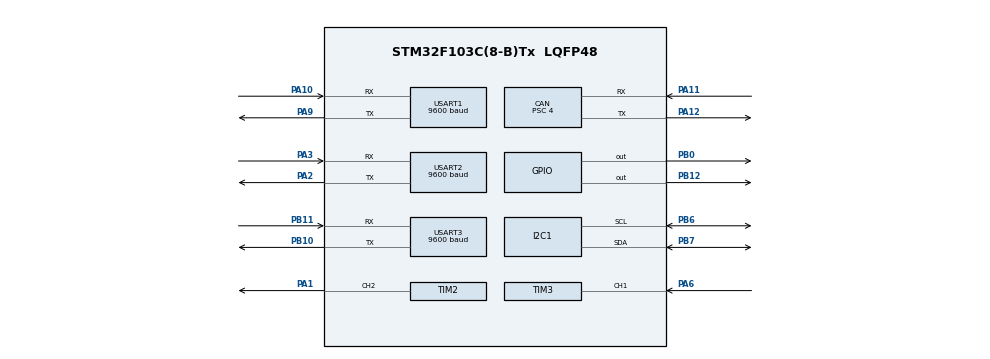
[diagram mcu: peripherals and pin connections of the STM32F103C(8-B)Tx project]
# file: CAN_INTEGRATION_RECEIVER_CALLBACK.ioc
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CAN.BS1=CAN_BS1_3TQ
CAN.BS2=CAN_BS2_4TQ
CAN.CalculateBaudRate=250000
CAN.CalculateTimeBit=4000
CAN.CalculateTimeQuantum=500.0
CAN.Prescaler=4
Dma.Request0=TIM2_UP
Dma.TIM2_UP.0.Direction=DMA_MEMORY_TO_PERIPH
Dma.TIM2_UP.0.Instance=DMA1_Channel2
Dma.TIM2_UP.0.MemDataAlignment=DMA_MDATAALIGN_HALFWORD
Dma.TIM2_UP.0.MemInc=DMA_MINC_ENABLE
Dma.TIM2_UP.0.Mode=DMA_NORMAL
Dma.TIM2_UP.0.PeriphDataAlignment=DMA_PDATAALIGN_HALFWORD
Dma.TIM2_UP.0.PeriphInc=DMA_PINC_DISABLE
Dma.TIM2_UP.0.Priority=DMA_PRIORITY_LOW
I2C1.I2C_Mode=I2C_Fast
Mcu.Family=STM32F1
Mcu.Name=STM32F103C(8-B)Tx
Mcu.Package=LQFP48
NVIC.CAN1_RX1_IRQn=true\:0\:0\:false\:false\:true\:true\:true\:true
NVIC.CAN1_SCE_IRQn=true\:0\:0\:false\:false\:true\:true\:true\:true
NVIC.DMA1_Channel2_IRQn=true\:0\:0\:false\:false\:true\:false\:true\:true
NVIC.I2C1_ER_IRQn=true\:0\:0\:false\:false\:true\:true\:true\:true
NVIC.I2C1_EV_IRQn=true\:0\:0\:false\:false\:true\:true\:true\:true
NVIC.PriorityGroup=NVIC_PRIORITYGROUP_4
NVIC.TIM2_IRQn=true\:0\:0\:false\:false\:true\:true\:true\:true
NVIC.TIM3_IRQn=true\:0\:0\:false\:false\:true\:true\:true\:true
NVIC.USART1_IRQn=true\:0\:0\:false\:false\:true\:true\:true\:true
NVIC.USART2_IRQn=true\:0\:0\:false\:false\:true\:true\:true\:true
NVIC.USART3_IRQn=true\:0\:0\:false\:false\:true\:true\:true\:true
NVIC.USB_HP_CAN1_TX_IRQn=true\:0\:0\:false\:false\:true\:true\:true\:true
NVIC.USB_LP_CAN1_RX0_IRQn=true\:0\:0\:false\:false\:true\:true\:true\:true
PA1.Signal=S_TIM2_CH2
PA10.Mode=Asynchronous
PA10.Signal=USART1_RX
PA11.Mode=CAN_Activate
PA11.Signal=CAN_RX
PA12.Mode=CAN_Activate
PA12.Signal=CAN_TX
PA2.Mode=Asynchronous
PA2.Signal=USART2_TX
PA3.Mode=Asynchronous
PA3.Signal=USART2_RX
PA6.Signal=S_TIM3_CH1
PA9.Mode=Asynchronous
PA9.Signal=USART1_TX
PB0.Signal=GPIO_Output
PB10.Mode=Asynchronous
PB10.Signal=USART3_TX
PB11.Mode=Asynchronous
PB11.Signal=USART3_RX
PB12.Signal=GPIO_Output
PB6.Mode=I2C
PB6.Signal=I2C1_SCL
PB7.Mode=I2C
PB7.Signal=I2C1_SDA
PD0-OSC_IN.Mode=HSE-External-Oscillator
PD0-OSC_IN.Signal=RCC_OSC_IN
PD1-OSC_OUT.Mode=HSE-External-Oscillator
PD1-OSC_OUT.Signal=RCC_OSC_OUT
ProjectManager.HeapSize=0x200
ProjectManager.StackSize=0x400
ProjectManager.TargetToolchain=STM32CubeIDE
RCC.APB1Freq_Value=8000000
RCC.APB2Freq_Value=8000000
SH.S_TIM2_CH2.0=TIM2_CH2,PWM Generation2 CH2
SH.S_TIM3_CH1.0=TIM3_CH1,Input_Capture1_from_TI1
TIM2.Channel-PWM\ Generation2\ CH2=TIM_CHANNEL_2
TIM2.CounterMode=TIM_COUNTERMODE_UP
TIM2.Period=9999
TIM2.Prescaler=79
TIM3.Channel-Input_Capture1_from_TI1=TIM_CHANNEL_1
TIM3.Prescaler=79
USART1.BaudRate=9600
USART1.VirtualMode=VM_ASYNC
USART2.BaudRate=9600
USART2.VirtualMode=VM_ASYNC
USART3.BaudRate=9600
USART3.VirtualMode=VM_ASYNC
VP_SYS_VS_ND.Mode=No_Debug
board=custom

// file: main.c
/* USER CODE BEGIN Header */
/**
  ******************************************************************************
  * @file    main.c
  * @brief   Unified TX/RX firmware
  *          PB12=HIGH  → TRANSMITTER  (boot-time + 200ms polling)
  *          PB12=LOW   → RECEIVER     (boot-time + 200ms polling)
  *
  *          CAN role override (PCAN-View remote frame or data frame):
  *          ID 0x100 → force TRANSMITTER (until reset)
  *          ID 0x200 → force RECEIVER    (until reset)
  *          Both PB12 and CAN override coexist — CAN wins once received.
  ******************************************************************************
  */
//Timers:
//  TIM2 → CH2 PWM output  → PA1
//  TIM3 → CH1 Input Capture → PA6
//         Base interrupt ON
//         IC interrupt ON
//
//UART:
//  USART1 → 9600 baud → PA9(TX) PA10(RX)
//  USART2 → 9600 baud → PA2(TX) PA3(RX)
//
//GPIO outputs:
//  PB0  → E32 M0+M1 shorted (LOW=Normal, HIGH=Configure)
//  PB12 → Input pull-down → HIGH=TX / LOW=RX
//  PC13 → Output → LED
//
//I2C1:
//  PB6 SCL, PB7 SDA
//  Speed = 100kHz
//
//CAN (debug + role control — PCAN-View):
//  PA11 → CAN_RX
//  PA12 → CAN_TX
//  250 kbps
//
//  CAN IDs used:
//   0x100  →  Set role = TRANSMITTER  (send any frame with this ID from PCAN-View)
//   0x200  →  Set role = RECEIVER     (send any frame with this ID from PCAN-View)
//   0x101  →  TX/RX debug data output [FREQ(4B big-endian)][RPM(4B big-endian)]
/* USER CODE END Header */

#include "main.h"
#include "can.h"
#include "dma.h"
#include "i2c.h"
#include "tim.h"
#include "usart.h"
#include "gpio.h"

/* USER CODE BEGIN Includes */
#include "ssd1306.h"
#include "fonts.h"
#include <stdio.h>
#include <string.h>
/* USER CODE END Includes */

/* USER CODE BEGIN PTD */
typedef enum
{
    ROLE_IDLE        = 0,
    ROLE_TRANSMITTER = 1,
    ROLE_RECEIVER    = 2
} DeviceRole;
/* USER CODE END PTD */

/* USER CODE BEGIN PD */
/* ── Signal loss timeout ── */
#define SIGNAL_TIMEOUT_MS   2000   /* show "NO SIGNAL" after 2s of no capture */
/* ── Role pin ── */
#define TX_SELECT_PORT      GPIOB
#define TX_SELECT_PIN       GPIO_PIN_12

/* ── E32 mode pin ── */
#define E32_M0_PORT         GPIOB
#define E32_M0_PIN          GPIO_PIN_0

/* ── E32 operating mode ── */
#define NORMAL              0
#define CONFIGURE           1
#define E32_MODE            NORMAL

#if E32_MODE == CONFIGURE
    #define E32_ApplyMode() HAL_GPIO_WritePin(E32_M0_PORT, E32_M0_PIN, GPIO_PIN_SET)
#else
    #define E32_ApplyMode() HAL_GPIO_WritePin(E32_M0_PORT, E32_M0_PIN, GPIO_PIN_RESET)
#endif

/* ── UART aliases ── */
#define FTDI_UART           huart1    /* USART1 PA9/PA10 → FTDI/PC  */
#define E32_UART            huart2    /* USART2 PA2/PA3  → E32 LoRa */

/* ── OLED addresses ── */
#define OLED_ADDR_PRIMARY   0x78
#define OLED_ADDR_FALLBACK  0x7A

/* ── RX buffer ── */
#define RX_BUF_SIZE         80

/* ── Timer clock: HSI 8MHz, PSC=79 → 100kHz ── */
#define TIMER_CLK           100000.0f
#define PPR                 1

/* ── Averaging ── */
#define AVG_LOW             4
#define AVG_MID             16
#define AVG_HIGH            64
#define AVG_MAX             64
#define MA_WINDOW           10

/* ── TX timing ── */
#define TX_INTERVAL_MS      500
#define E32_TX_DELAY_MS     200

/* ── CAN IDs ── */
#define CAN_DEBUG_ID        0x101   /* outbound data frames (FREQ + RPM)  */
#define CAN_CMD_TX_ID       0x100   /* inbound: set role = TRANSMITTER    */
#define CAN_CMD_RX_ID       0x200   /* inbound: set role = RECEIVER       */
/* USER CODE END PD */

/* USER CODE BEGIN PV */
/* ── Role ── */
static DeviceRole g_role = ROLE_IDLE;

/* ── CAN role override ──────────────────────────────────────────────────────
 * Set to 1 by the CAN RX ISR when a 0x100 or 0x200 frame arrives.
 * Once set, the 200ms PB12 polling loop will NO LONGER trigger a reset
 * based on the pin — the CAN command is "sticky" until the board resets.
 * Both mechanisms stay active; CAN simply wins while this flag is set.
 * ────────────────────────────────────────────────────────────────────────── */
static volatile uint8_t    g_can_override_active = 0;
static volatile DeviceRole g_can_requested_role  = ROLE_IDLE;

/* ── OLED presence flag ── */
static uint8_t oled_present = 0;

/* ── TX variables ── */
static volatile uint32_t overflow_count = 0;
static uint32_t cap_buf[AVG_MAX + 1];
static uint8_t  cap_idx    = 0;
static uint8_t  cur_avg    = AVG_MID;
static uint8_t  meas_ready = 0;
volatile float  g_Frequency = 0.0f;

/* ── Moving average ── */
static float   ma_buf[MA_WINDOW] = {0};
static uint8_t ma_idx   = 0;
static uint8_t ma_count = 0;

/* ── RX variables ── */
static char    rx_buf[RX_BUF_SIZE];
static uint8_t rx_idx = 0;
/* USER CODE END PV */

void SystemClock_Config(void);
/* USER CODE BEGIN PFP */
static float   moving_average(float v);
static void    E32_SetMode(void);
static void    E32_Transmit(uint32_t freq, uint32_t rpm);
static void    TX_OLED_Display(uint32_t freq, uint32_t rpm);
static uint8_t OLED_Verify(void);
static void    Parse_And_Display(char *line);
static void    TX_Init(void);
static void    TX_Loop(void);
static void    RX_Init(void);
static void    RX_Loop(void);
static void    IDLE_Loop(void);
static void    CAN_Config(void);
static void    CAN_SendData(uint32_t freq, uint32_t rpm);
/* USER CODE END PFP */

/* USER CODE BEGIN 0 */

/* ══════════════════════════════════════════════
 * MOVING AVERAGE
 * ══════════════════════════════════════════════ */
static float moving_average(float new_freq)
{
    if (ma_count > 0)
    {
        float last = ma_buf[(ma_idx == 0) ?
                    (MA_WINDOW - 1) : (ma_idx - 1)];
        if (last > 0.0f)
        {
            float ratio = new_freq / last;
            if (ratio < 0.5f || ratio > 2.0f)
            {
                ma_count = 0;
                ma_idx   = 0;
                for (uint8_t i = 0; i < MA_WINDOW; i++)
                    ma_buf[i] = 0.0f;
            }
        }
    }
    ma_buf[ma_idx] = new_freq;
    ma_idx = (ma_idx + 1) % MA_WINDOW;
    if (ma_count < MA_WINDOW) ma_count++;

    float sum = 0.0f;
    for (uint8_t i = 0; i < ma_count; i++)
        sum += ma_buf[i];
    return sum / (float)ma_count;
}

/* ══════════════════════════════════════════════
 * E32 MODE
 * ══════════════════════════════════════════════ */
static void E32_SetMode(void)
{
    E32_ApplyMode();
    HAL_Delay(100);
}

/* ══════════════════════════════════════════════
 * E32 TRANSMIT
 * ══════════════════════════════════════════════ */
static void E32_Transmit(uint32_t freq, uint32_t rpm)
{
    char buf[64];
    int  len = snprintf(buf, sizeof(buf),
                        "FREQ:%lu RPM:%lu\r\n",
                        freq, rpm);

    HAL_UART_Transmit(&E32_UART,
                      (uint8_t *)buf, (uint16_t)len, 200);
    HAL_Delay(E32_TX_DELAY_MS);

    HAL_UART_Transmit(&FTDI_UART,
                      (uint8_t *)buf, (uint16_t)len, 200);
}

/* ══════════════════════════════════════════════
 * CAN CONFIG
 * Filter bank 0  — accept ALL IDs (mask = 0x000 / 0x000)
 * This lets us receive 0x100 and 0x200 role commands as well as
 * any other frames without needing multiple filter banks.
 * ══════════════════════════════════════════════ */
static void CAN_Config(void)
{
    /* Skip filter + start if CAN already running */
    if (HAL_CAN_GetState(&hcan) != HAL_CAN_STATE_LISTENING)
    {
        CAN_FilterTypeDef filterConfig;
        filterConfig.FilterBank           = 0;
        filterConfig.FilterMode           = CAN_FILTERMODE_IDMASK;
        filterConfig.FilterScale          = CAN_FILTERSCALE_32BIT;
        filterConfig.FilterIdHigh         = 0x0000;
        filterConfig.FilterIdLow          = 0x0000;
        filterConfig.FilterMaskIdHigh     = 0x0000;
        filterConfig.FilterMaskIdLow      = 0x0000;
        filterConfig.FilterFIFOAssignment = CAN_RX_FIFO0;
        filterConfig.FilterActivation     = ENABLE;
        filterConfig.SlaveStartFilterBank = 14;

        if (HAL_CAN_ConfigFilter(&hcan, &filterConfig) != HAL_OK)
            Error_Handler();

        if (HAL_CAN_Start(&hcan) != HAL_OK)
            Error_Handler();
    }

    /* ALWAYS re-enable notification — gets cleared after role switch */
    if (HAL_CAN_ActivateNotification(&hcan,
            CAN_IT_RX_FIFO0_MSG_PENDING) != HAL_OK)
        Error_Handler();
}
/* ══════════════════════════════════════════════
 * CAN TX — debug data output
 * ID 0x101, 8-byte big-endian [FREQ(4B)][RPM(4B)]
 * ══════════════════════════════════════════════ */
static void CAN_SendData(uint32_t freq, uint32_t rpm)
{
    CAN_TxHeaderTypeDef txHeader;
    uint8_t  txData[8];
    uint32_t txMailbox;

    txHeader.StdId              = CAN_DEBUG_ID;
    txHeader.ExtId              = 0;
    txHeader.IDE                = CAN_ID_STD;
    txHeader.RTR                = CAN_RTR_DATA;
    txHeader.DLC                = 8;
    txHeader.TransmitGlobalTime = DISABLE;

    txData[0] = (uint8_t)(freq >> 24);
    txData[1] = (uint8_t)(freq >> 16);
    txData[2] = (uint8_t)(freq >>  8);
    txData[3] = (uint8_t)(freq);
    txData[4] = (uint8_t)(rpm  >> 24);
    txData[5] = (uint8_t)(rpm  >> 16);
    txData[6] = (uint8_t)(rpm  >>  8);
    txData[7] = (uint8_t)(rpm);

    if (HAL_CAN_GetTxMailboxesFreeLevel(&hcan) > 0)
        HAL_CAN_AddTxMessage(&hcan, &txHeader, txData, &txMailbox);
}

/* ══════════════════════════════════════════════
 * CAN RX FIFO0 INTERRUPT CALLBACK
 *
 * Called by HAL when a CAN frame arrives in FIFO0.
 *
 * ID 0x100 → request switch to TRANSMITTER
 * ID 0x200 → request switch to RECEIVER
 *
 * We set g_can_override_active and g_can_requested_role, then
 * let the main loop apply the switch via NVIC_SystemReset().
 * Doing the reset here (inside ISR) is safe but we avoid it to
 * keep the ISR short and not lose the FTDI "switching…" message.
 * ══════════════════════════════════════════════ */
void HAL_CAN_RxFifo0MsgPendingCallback(CAN_HandleTypeDef *hcan_ptr)
{
    CAN_RxHeaderTypeDef rxHeader;
    uint8_t rxData[8];

    if (HAL_CAN_GetRxMessage(hcan_ptr, CAN_RX_FIFO0,
                             &rxHeader, rxData) != HAL_OK)
        return;

    /* Only act on standard (11-bit) IDs */
    if (rxHeader.IDE != CAN_ID_STD)
        return;

    if (rxHeader.StdId == CAN_CMD_TX_ID)          /* 0x100 → TX */
    {
        g_can_requested_role  = ROLE_TRANSMITTER;
        g_can_override_active = 1;
    }
    else if (rxHeader.StdId == CAN_CMD_RX_ID)     /* 0x200 → RX */
    {
        g_can_requested_role  = ROLE_RECEIVER;
        g_can_override_active = 1;
    }
    /* All other IDs (e.g. 0x101 echoes) are silently ignored */
}

/* ══════════════════════════════════════════════
 * TIMER CALLBACKS — guarded by g_role
 * ══════════════════════════════════════════════ */
void HAL_TIM_PeriodElapsedCallback(TIM_HandleTypeDef *htim)
{
    if (g_role == ROLE_TRANSMITTER && htim->Instance == TIM3)
        overflow_count++;
}

void HAL_TIM_IC_CaptureCallback(TIM_HandleTypeDef *htim)
{
    if (g_role != ROLE_TRANSMITTER)                 return;
    if (htim->Instance != TIM3)                     return;
    if (htim->Channel  != HAL_TIM_ACTIVE_CHANNEL_1) return;

    HAL_GPIO_TogglePin(GPIOC, GPIO_PIN_13);

    uint16_t captured = (uint16_t)HAL_TIM_ReadCapturedValue(
                                   htim, TIM_CHANNEL_1);
    uint32_t ovf = overflow_count;

    if ((TIM3->SR & TIM_SR_UIF) && (captured < 0x8000))
        ovf--;

    uint32_t timestamp = (ovf * 65536UL) + (uint32_t)captured;
    cap_buf[cap_idx]   = timestamp;
    cap_idx++;

    if (cap_idx <= cur_avg) return;

    uint32_t total_ticks = cap_buf[cur_avg] - cap_buf[0];
    if (total_ticks > 0)
    {
        float avg_period = (float)total_ticks / (float)cur_avg;
        float new_freq   = TIMER_CLK / avg_period;

        if      (new_freq <  100.0f) cur_avg = AVG_LOW;
        else if (new_freq < 1000.0f) cur_avg = AVG_MID;
        else                         cur_avg = AVG_HIGH;

        g_Frequency = new_freq;
        meas_ready  = 1;
    }
    cap_idx = 0;
}

/* ══════════════════════════════════════════════
 * OLED HELPERS
 * ══════════════════════════════════════════════ */
static uint8_t OLED_Verify(void)
{
    if (HAL_I2C_IsDeviceReady(&hi2c1,
        OLED_ADDR_PRIMARY,  3, 100) == HAL_OK) return 1;
    if (HAL_I2C_IsDeviceReady(&hi2c1,
        OLED_ADDR_FALLBACK, 3, 100) == HAL_OK) return 1;
    return 0;
}

/* ══════════════════════════════════════════════
 * TX OLED DISPLAY
 * Row 0  : "Transmitter"
 * Row 16 : "FREQ:xxx Hz"
 * Row 35 : "RPM :xxx"
 * ══════════════════════════════════════════════ */
static void TX_OLED_Display(uint32_t freq, uint32_t rpm)
{
    if (!oled_present) return;

    char buf[22];
    SSD1306_Fill(SSD1306_COLOR_BLACK);

    SSD1306_GotoXY(0, 0);
    SSD1306_Puts("Transmitter", &Font_7x10, SSD1306_COLOR_WHITE);

    snprintf(buf, sizeof(buf), "FREQ:%lu Hz", freq);
    SSD1306_GotoXY(0, 16);
    SSD1306_Puts(buf, &Font_7x10, SSD1306_COLOR_WHITE);

    snprintf(buf, sizeof(buf), "RPM :%lu", rpm);
    SSD1306_GotoXY(0, 35);
    SSD1306_Puts(buf, &Font_7x10, SSD1306_COLOR_WHITE);

    SSD1306_UpdateScreen();
}

/* ══════════════════════════════════════════════
 * PARSE AND DISPLAY (RX side)
 * ══════════════════════════════════════════════ */
static void Parse_And_Display(char *line)
{
    int freq     = 0;
    int rval     = 0;
    int gen_freq = 0;

    char *p = strstr(line, "FREQ:");
    if (p) sscanf(p, "FREQ:%d", &freq);

    if      (strstr(line, "RPM:"))
        sscanf(strstr(line, "RPM:"), "RPM:%d", &rval);
    else if (strstr(line, "RM:"))
        sscanf(strstr(line, "RM:"),  "RM:%d",  &rval);
    else if (strstr(line, "RP:"))
        sscanf(strstr(line, "RP:"),  "RP:%d",  &rval);
    else if (strstr(line, "R:"))
        sscanf(strstr(line, "R:"),   "R:%d",   &rval);
    else if (strstr(line, "M:"))
        sscanf(strstr(line, "M:"),   "M:%d",   &rval);

    if (freq > 0)
    {
        uint32_t timer_clk = 8000000UL;
        uint32_t total_div = timer_clk / (uint32_t)freq;

        uint32_t arr = 999;
        uint32_t psc = total_div / (arr + 1);
        if (psc == 0) psc = 1;
        arr = (total_div / psc) - 1;
        if (arr > 65535) arr = 65535;
        if (psc > 65535) psc = 65535;

        HAL_TIM_PWM_Stop(&htim2, TIM_CHANNEL_2);
        htim2.Instance->PSC  = psc - 1;
        htim2.Instance->ARR  = arr;
        htim2.Instance->CCR2 = (arr + 1) / 2;
        htim2.Instance->CNT  = 0;
        htim2.Instance->EGR  = TIM_EGR_UG;
        HAL_TIM_PWM_Start(&htim2, TIM_CHANNEL_2);

        gen_freq = (int)(timer_clk / (psc * (arr + 1)));
    }

    if (freq > 0)
        CAN_SendData((uint32_t)freq, (uint32_t)rval);

    if (!oled_present) return;

    char l1[22], l2[22], l3[22];
    snprintf(l1, sizeof(l1), "FREQ=%d Hz", freq);
    snprintf(l2, sizeof(l2), "RPM =%d",    rval);
    snprintf(l3, sizeof(l3), "GEN =%d Hz", gen_freq);

    SSD1306_Fill(SSD1306_COLOR_BLACK);
    SSD1306_GotoXY(0,  0); SSD1306_Puts("Receiver", &Font_7x10, SSD1306_COLOR_WHITE);
    SSD1306_GotoXY(0, 16); SSD1306_Puts(l1, &Font_7x10, SSD1306_COLOR_WHITE);
    SSD1306_GotoXY(0, 32); SSD1306_Puts(l2, &Font_7x10, SSD1306_COLOR_WHITE);
    SSD1306_GotoXY(0, 48); SSD1306_Puts(l3, &Font_7x10, SSD1306_COLOR_WHITE);
    SSD1306_UpdateScreen();
}

/* ══════════════════════════════════════════════
 * TX INIT + LOOP
 * ══════════════════════════════════════════════ */
static void TX_Init(void)
{
    HAL_GPIO_WritePin(GPIOC, GPIO_PIN_13, GPIO_PIN_RESET);
    HAL_Delay(800);
    HAL_GPIO_WritePin(GPIOC, GPIO_PIN_13, GPIO_PIN_SET);
    HAL_Delay(200);

    E32_SetMode();
    CAN_Config();

    const char *msg = "=== TRANSMITTER READY (HSI 8MHz) ===\r\n";
    HAL_UART_Transmit(&FTDI_UART,
                      (uint8_t *)msg, strlen(msg), 200);

    oled_present = OLED_Verify();
    if (!oled_present) { HAL_Delay(50); oled_present = OLED_Verify(); }

    if (oled_present)
    {
        SSD1306_Init();
        SSD1306_Fill(SSD1306_COLOR_BLACK);
        SSD1306_GotoXY(0,  0); SSD1306_Puts("Transmitter", &Font_7x10, SSD1306_COLOR_WHITE);
        SSD1306_GotoXY(0, 16); SSD1306_Puts("FREQ: ----",  &Font_7x10, SSD1306_COLOR_WHITE);
        SSD1306_GotoXY(0, 35); SSD1306_Puts("RPM:  ----",  &Font_7x10, SSD1306_COLOR_WHITE);
        SSD1306_UpdateScreen();
    }
    else
    {
        const char *no_oled = "OLED not detected — continuing without display\r\n";
        HAL_UART_Transmit(&FTDI_UART, (uint8_t *)no_oled, strlen(no_oled), 200);
    }

    HAL_TIM_Base_Start_IT(&htim3);
    HAL_TIM_IC_Start_IT(&htim3, TIM_CHANNEL_1);
}
static void Apply_Role_Switch(DeviceRole new_role)
{
    char sw_msg[60];
    snprintf(sw_msg, sizeof(sw_msg),
             "Switching to %s via %s...\r\n",
             (new_role == ROLE_TRANSMITTER) ? "TRANSMITTER" : "RECEIVER",
             g_can_override_active ? "CAN" : "PB12");
    HAL_UART_Transmit(&FTDI_UART, (uint8_t *)sw_msg, strlen(sw_msg), 200);

    /* ── Stop everything cleanly ── */
    HAL_TIM_IC_Stop_IT(&htim3, TIM_CHANNEL_1);
    HAL_TIM_Base_Stop_IT(&htim3);
    HAL_TIM_PWM_Stop(&htim2, TIM_CHANNEL_2);

    /* ── Reset ALL stale state ── */
    overflow_count = 0;
    cap_idx        = 0;
    cur_avg        = AVG_MID;
    meas_ready     = 0;
    g_Frequency    = 0.0f;
    ma_idx         = 0;
    ma_count       = 0;
    for (uint8_t i = 0; i < MA_WINDOW; i++) ma_buf[i] = 0.0f;
    rx_idx = 0;
    memset(rx_buf, 0, sizeof(rx_buf));

    /* ── Force OLED re-init ── */
    oled_present = 0;

    /* ── Clear CAN override so PB12 works again after this switch ── */
  //  g_can_override_active = 0;

    g_role = new_role;

    HAL_Delay(100);   /* let peripherals settle */

    if (new_role == ROLE_TRANSMITTER)
    {
        TX_Init();   /* restarts TIM3 IC + base, re-probes OLED */
        TX_Loop();
    }
    else
    {
        RX_Init();   /* restarts PWM TIM2, re-probes OLED */
        RX_Loop();
    }
}
/* ── TX_Loop: role-switch logic handles BOTH PB12 and CAN override ── */
static void TX_Loop(void)
{
    uint32_t last_tx_tick  = 0;
    uint32_t last_pin_tick = 0;
    uint32_t last_meas_tick = 0;    /* ← ADD THIS */
    uint8_t  signal_lost    = 0;    /* ← ADD THIS */

    while (1)
    {
        uint32_t now = HAL_GetTick();

        /* ── Role-switch check every 200ms ────────────────────────────────
         * Priority:
         *   1. CAN override (g_can_override_active set by ISR)
         *   2. PB12 pin (original behaviour, active only when no CAN cmd)
         * ──────────────────────────────────────────────────────────────── */
        if ((now - last_pin_tick) >= 200)
        {
            last_pin_tick = now;

            DeviceRole requested_role = ROLE_IDLE;

            if (g_can_override_active)
            {
                /* CAN command wins */
                requested_role = g_can_requested_role;
            }
            else
            {
                /* PB12 original logic */
                uint8_t tx_pin = HAL_GPIO_ReadPin(TX_SELECT_PORT, TX_SELECT_PIN);
                requested_role = tx_pin ? ROLE_TRANSMITTER : ROLE_RECEIVER;
            }

            if (requested_role != g_role)
            {
                char sw_msg[60];
                snprintf(sw_msg, sizeof(sw_msg),
                         "Switching to %s via %s...\r\n",
                         (requested_role == ROLE_TRANSMITTER) ? "TRANSMITTER" : "RECEIVER",
                         g_can_override_active ? "CAN" : "PB12");
                HAL_UART_Transmit(&FTDI_UART,
                                  (uint8_t *)sw_msg, strlen(sw_msg), 200);
                HAL_Delay(50);
                Apply_Role_Switch(requested_role);
            }
        }

        /* ── Normal TX measurement + transmit ── */
        /* ── Normal TX measurement + transmit ── */
                if (meas_ready)
                {
                    meas_ready      = 0;
                    last_meas_tick  = now;    // ← record when last valid capture arrived

                    /* Clear signal-lost state if it was set */
                    if (signal_lost)
                    {
                        signal_lost = 0;
                        /* Immediately redraw OLED with live data on recovery */
                    }

                    float freq_smooth = moving_average(g_Frequency);

                    if ((now - last_tx_tick) >= TX_INTERVAL_MS)
                    {
                        last_tx_tick      = now;
                        uint32_t freq_int = (uint32_t)(freq_smooth + 0.5f);
                        uint32_t rpm_int  = (freq_int * 60U) / PPR;

                        E32_Transmit(freq_int, rpm_int);
                        CAN_SendData(freq_int, rpm_int);
                        TX_OLED_Display(freq_int, rpm_int);
                    }
                }

                /* ── Signal loss detection ── */
                if ((now - last_meas_tick) >= SIGNAL_TIMEOUT_MS && !signal_lost)
                {
                    signal_lost = 1;

                    /* UART warning */
                    const char *lost_msg = "SIGNAL LOST\r\n";
                    HAL_UART_Transmit(&FTDI_UART,
                                      (uint8_t *)lost_msg, strlen(lost_msg), 200);

                    /* OLED — show NO SIGNAL */
                    if (oled_present)
                    {
                        SSD1306_Fill(SSD1306_COLOR_BLACK);
                        SSD1306_GotoXY(0,  0);
                        SSD1306_Puts("Transmitter",  &Font_7x10, SSD1306_COLOR_WHITE);
                        SSD1306_GotoXY(0, 16);
                        SSD1306_Puts("NO SIGNAL",    &Font_7x10, SSD1306_COLOR_WHITE);
                        SSD1306_GotoXY(0, 35);
                        SSD1306_Puts("FREQ: ----",   &Font_7x10, SSD1306_COLOR_WHITE);
                        SSD1306_GotoXY(0, 48);
                        SSD1306_Puts("RPM : ----",   &Font_7x10, SSD1306_COLOR_WHITE);
                        SSD1306_UpdateScreen();
                    }
                }
    }
}

/* ══════════════════════════════════════════════
 * RX INIT + LOOP
 * ══════════════════════════════════════════════ */
static void RX_Init(void)
{
    HAL_TIM_IC_Stop_IT(&htim3,  TIM_CHANNEL_1);
    HAL_TIM_Base_Stop_IT(&htim3);

    for (int i = 0; i < 3; i++)
    {
        HAL_GPIO_WritePin(GPIOC, GPIO_PIN_13, GPIO_PIN_RESET);
        HAL_Delay(150);
        HAL_GPIO_WritePin(GPIOC, GPIO_PIN_13, GPIO_PIN_SET);
        HAL_Delay(150);
    }

    E32_SetMode();
    CAN_Config();

    oled_present = OLED_Verify();
    if (!oled_present) { HAL_Delay(50); oled_present = OLED_Verify(); }

    HAL_TIM_PWM_Start(&htim2, TIM_CHANNEL_2);

    if (oled_present)
    {
        SSD1306_Init();
        SSD1306_Fill(SSD1306_COLOR_BLACK);
        SSD1306_GotoXY(0,  0); SSD1306_Puts("Receiver",   &Font_7x10, SSD1306_COLOR_WHITE);
        SSD1306_GotoXY(0, 16); SSD1306_Puts("FREQ= ----", &Font_7x10, SSD1306_COLOR_WHITE);
        SSD1306_GotoXY(0, 35); SSD1306_Puts("RPM = ----", &Font_7x10, SSD1306_COLOR_WHITE);
        SSD1306_UpdateScreen();
    }

    const char *msg = "=== RECEIVER READY (HSI 8MHz) ===\r\n";
    HAL_UART_Transmit(&FTDI_UART, (uint8_t *)msg, strlen(msg), 200);

    if (!oled_present)
    {
        const char *no_oled = "OLED not detected — continuing without display\r\n";
        HAL_UART_Transmit(&FTDI_UART, (uint8_t *)no_oled, strlen(no_oled), 200);
    }
}

/* ── RX_Loop: role-switch logic handles BOTH PB12 and CAN override ── */
static void RX_Loop(void)
{
    uint32_t last_pin_tick = 0;
    uint32_t last_rx_tick  = HAL_GetTick();   /* grace period from role entry */
    uint8_t  rx_signal_lost = 0;

    while (1)
    {
        uint32_t now = HAL_GetTick();

        /* ── Role-switch check every 200ms ── (unchanged) */
        if ((now - last_pin_tick) >= 200)
        {
            last_pin_tick = now;

            DeviceRole requested_role = ROLE_IDLE;

            if (g_can_override_active)
            {
                requested_role = g_can_requested_role;
            }
            else
            {
                uint8_t tx_pin = HAL_GPIO_ReadPin(TX_SELECT_PORT, TX_SELECT_PIN);
                requested_role = tx_pin ? ROLE_TRANSMITTER : ROLE_RECEIVER;
            }

            if (requested_role != g_role)
            {
                char sw_msg[60];
                snprintf(sw_msg, sizeof(sw_msg),
                         "Switching to %s via %s...\r\n",
                         (requested_role == ROLE_TRANSMITTER) ? "TRANSMITTER" : "RECEIVER",
                         g_can_override_active ? "CAN" : "PB12");
                HAL_UART_Transmit(&FTDI_UART,
                                  (uint8_t *)sw_msg, strlen(sw_msg), 200);
                HAL_Delay(50);
                Apply_Role_Switch(requested_role);
            }
        }

        /* ── Receive from E32 on USART2 ── */
        uint8_t byte;
        if (HAL_UART_Receive(&huart2, &byte, 1, 50) == HAL_OK)
        {
            if (byte == '\n')
            {
                rx_buf[rx_idx] = '\0';

                /* Valid line arrived → refresh timeout + clear lost flag */
                last_rx_tick = now;
                rx_signal_lost = 0;

                Parse_And_Display(rx_buf);

                HAL_UART_Transmit(&huart1,
                                  (uint8_t *)rx_buf, rx_idx, 200);
                HAL_UART_Transmit(&huart1,
                                  (uint8_t *)"\r\n", 2, 20);

                HAL_UART_Transmit(&huart3,
                                  (uint8_t *)rx_buf, rx_idx, 200);
                HAL_UART_Transmit(&huart3,
                                  (uint8_t *)"\r\n", 2, 20);

                rx_idx = 0;
                memset(rx_buf, 0, sizeof(rx_buf));
            }
            else if (byte != '\r' && rx_idx < RX_BUF_SIZE - 1)
            {
                rx_buf[rx_idx++] = (char)byte;
            }
        }

        /* ── Signal loss detection (RX side) ──────────────────────────── */
        if ((now - last_rx_tick) >= SIGNAL_TIMEOUT_MS && !rx_signal_lost)
        {
            rx_signal_lost = 1;

            /* Freeze PA1 low instead of holding last frequency forever */
            HAL_TIM_PWM_Stop(&htim2, TIM_CHANNEL_2);

            const char *lost_msg = "SIGNAL LOST\r\n";
            HAL_UART_Transmit(&FTDI_UART,
                              (uint8_t *)lost_msg, strlen(lost_msg), 200);

            if (oled_present)
            {
                SSD1306_Fill(SSD1306_COLOR_BLACK);
                SSD1306_GotoXY(0,  0);
                SSD1306_Puts("Receiver",   &Font_7x10, SSD1306_COLOR_WHITE);
                SSD1306_GotoXY(0, 16);
                SSD1306_Puts("NO SIGNAL",  &Font_7x10, SSD1306_COLOR_WHITE);
                SSD1306_GotoXY(0, 32);
                SSD1306_Puts("FREQ= ----", &Font_7x10, SSD1306_COLOR_WHITE);
                SSD1306_GotoXY(0, 48);
                SSD1306_Puts("RPM = ----", &Font_7x10, SSD1306_COLOR_WHITE);
                SSD1306_UpdateScreen();
            }
        }
    }
}
/* ══════════════════════════════════════════════
 * IDLE LOOP
 * ══════════════════════════════════════════════ */
static void IDLE_Loop(void)
{
    while (1)
    {
        HAL_GPIO_TogglePin(GPIOC, GPIO_PIN_13);
        HAL_Delay(500);
        NVIC_SystemReset();
    }
}

/* USER CODE END 0 */

int main(void)
{
    HAL_Init();
    SystemClock_Config();

    MX_GPIO_Init();
    MX_DMA_Init();
    MX_I2C1_Init();
    MX_TIM3_Init();
    MX_USART1_UART_Init();
    MX_USART2_UART_Init();
    MX_USART3_UART_Init();
    MX_TIM2_Init();
    MX_CAN_Init();

    /* USER CODE BEGIN 2 */

    /* Debounce delay before reading pin */
    HAL_Delay(100);

    /* ── Boot-time role resolution ─────────────────────────────────────────
     * CAN interrupt is not yet active here (CAN_Config is called inside
     * TX_Init / RX_Init), so boot role always comes from PB12.
     * After CAN_Config runs, the ISR can set g_can_override_active and the
     * main loop will reset into the new role within 200ms.
     * ────────────────────────────────────────────────────────────────────── */
    uint8_t tx_pin = (HAL_GPIO_ReadPin(TX_SELECT_PORT, TX_SELECT_PIN)
                      == GPIO_PIN_SET) ? 1 : 0;

    g_role = tx_pin ? ROLE_TRANSMITTER : ROLE_RECEIVER;

    char role_msg[60];
    snprintf(role_msg, sizeof(role_msg),
             "PB12=%d ROLE=%d (1=TX,2=RX) | CAN 0x100=TX 0x200=RX\r\n",
             tx_pin, (int)g_role);
    HAL_UART_Transmit(&FTDI_UART,
                      (uint8_t *)role_msg, strlen(role_msg), 300);

    switch (g_role)
    {
        case ROLE_TRANSMITTER:
            TX_Init();
            TX_Loop();
            break;
        case ROLE_RECEIVER:
            RX_Init();
            RX_Loop();
            break;
        default:
            IDLE_Loop();
            break;
    }

    /* USER CODE END 2 */

    while (1) {}
}

void SystemClock_Config(void)
{
    RCC_OscInitTypeDef RCC_OscInitStruct = {0};
    RCC_ClkInitTypeDef RCC_ClkInitStruct = {0};

    RCC_OscInitStruct.OscillatorType      = RCC_OSCILLATORTYPE_HSI;
    RCC_OscInitStruct.HSIState            = RCC_HSI_ON;
    RCC_OscInitStruct.HSICalibrationValue = RCC_HSICALIBRATION_DEFAULT;
    RCC_OscInitStruct.PLL.PLLState        = RCC_PLL_NONE;
    if (HAL_RCC_OscConfig(&RCC_OscInitStruct) != HAL_OK)
        Error_Handler();

    RCC_ClkInitStruct.ClockType      = RCC_CLOCKTYPE_HCLK | RCC_CLOCKTYPE_SYSCLK
                                     | RCC_CLOCKTYPE_PCLK1 | RCC_CLOCKTYPE_PCLK2;
    RCC_ClkInitStruct.SYSCLKSource   = RCC_SYSCLKSOURCE_HSI;
    RCC_ClkInitStruct.AHBCLKDivider  = RCC_SYSCLK_DIV1;
    RCC_ClkInitStruct.APB1CLKDivider = RCC_HCLK_DIV1;
    RCC_ClkInitStruct.APB2CLKDivider = RCC_HCLK_DIV1;

    if (HAL_RCC_ClockConfig(&RCC_ClkInitStruct, FLASH_LATENCY_0) != HAL_OK)
        Error_Handler();
}

void Error_Handler(void)
{
    __disable_irq();
    while (1) {}
}
